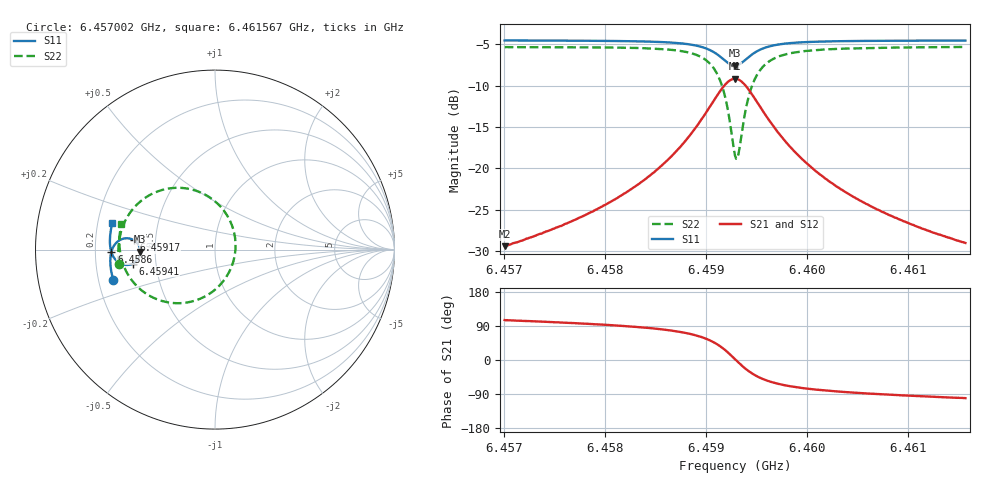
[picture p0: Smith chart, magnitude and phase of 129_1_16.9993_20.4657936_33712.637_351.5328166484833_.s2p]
#  HZ  S  RI  R  50.00
! Rohde & Schwarz Vector Network Analyzer
! Rohde-Schwarz,ZNB20-2Port,1311601062101988,3.16
! Created: UTC 3/20/2024, 10:57:51 PM
! freq[Hz]  re:S11  im:S11  re:S21  im:S21  re:S12  im:S12  re:S22  im:S22
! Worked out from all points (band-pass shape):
!   401 points, 6.457002 GHz to 6.461567 GHz, reference 50 ohm
!   highest |S21| = -9.17 dB at 6.459285 GHz (marker M1); lowest = -29.4 dB at 6.457002 GHz (marker M2)
!   |S21| within 3 dB of the highest: 6.459056 GHz to 6.459513 GHz (456.6 kHz wide, 0.00707 % of centre)
!   lowest |S11| = -7.6 dB at 6.459285 GHz (marker M3), VSWR 2.43, Z = 20.6 - j0.562 ohm
!   |S11| at or under -10 dB: nowhere
!   |S22| runs from -18.9 to -5.3 dB; largest |S21 - S12| = 0.014
!   S11 on the Smith chart (normalised r, x): 6.457002 GHz: 0.26, -0.14; 6.4586 GHz: 0.27, -0.01; 6.45917 GHz: 0.38, +0.05; 6.45941 GHz: 0.37, -0.07; 6.461567 GHz: 0.26, +0.12
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6.4570019e9  -0.5666 -0.1716  -0.00898 0.0326  -0.0071 0.0326  -0.5333 -0.0826
6.4577666e9  -0.5805 -0.1047  -0.00549 0.0508  -0.00304 0.0501  -0.5382 0.00743
6.4582117e9  -0.5833 -0.0596  0.0011 0.0718  0.00434 0.0704  -0.5289 0.0791
6.4585313e9  -0.5795 -0.0209  0.0145 0.0993  0.0184 0.0966  -0.5041 0.1524
6.4585998e9  -0.5772 -0.0114  0.0198 0.1079  0.0239 0.1047  -0.4939 0.1725
6.4587938e9  -0.5646 0.0191  0.0467 0.139  0.0507 0.134  -0.4438 0.2418
6.4589422e9  -0.5416 0.0456  0.0923 0.1697  0.0954 0.163  -0.3597 0.3062
6.4590791e9  -0.4974 0.0631  0.1802 0.1862  0.181 0.1788  -0.1994 0.3443
6.4591704e9  -0.4524 0.0526  0.2706 0.1545  0.2709 0.1486  -0.0321 0.2928
6.4592389e9  -0.4231 0.0201  0.3312 0.0819  0.3335 0.0767  0.083 0.162
6.4592846e9  -0.4162 -0.0113  0.3475 0.0134  0.3513 0.00663  0.1145 0.0342
6.459296e9  -0.4167 -0.0194  0.3473 -0.00435  0.3512 -0.0121  0.1141 0.000522
6.4593188e9  -0.4203 -0.0352  0.3415 -0.0391  0.3454 -0.0485  0.1026 -0.0656
6.4593645e9  -0.4361 -0.0615  0.3127 -0.0993  0.3148 -0.1112  0.044 -0.1786
6.4594101e9  -0.4582 -0.078  0.2702 -0.1404  0.2694 -0.1537  -0.0418 -0.2532
6.4595014e9  -0.5019 -0.0848  0.1849 -0.1716  0.1788 -0.1831  -0.2112 -0.2986
6.4596498e9  -0.5461 -0.0644  0.0967 -0.1575  0.0882 -0.1637  -0.379 -0.2487
6.4598096e9  -0.5678 -0.0368  0.0516 -0.1295  0.044 -0.1322  -0.4593 -0.1762
6.4600493e9  -0.5808 -0.00143  0.0225 -0.0978  0.0167 -0.0984  -0.5073 -0.0936
6.4604031e9  -0.5855 0.0408  0.00603 -0.0701  0.00211 -0.0697  -0.5291 -0.0124
6.4608139e9  -0.5839 0.0821  -0.00135 -0.0521  -0.00422 -0.0513  -0.5329 0.0534
6.4615672e9  -0.5719 0.149  -0.00654 -0.0348  -0.00824 -0.0338  -0.5218 0.1427
